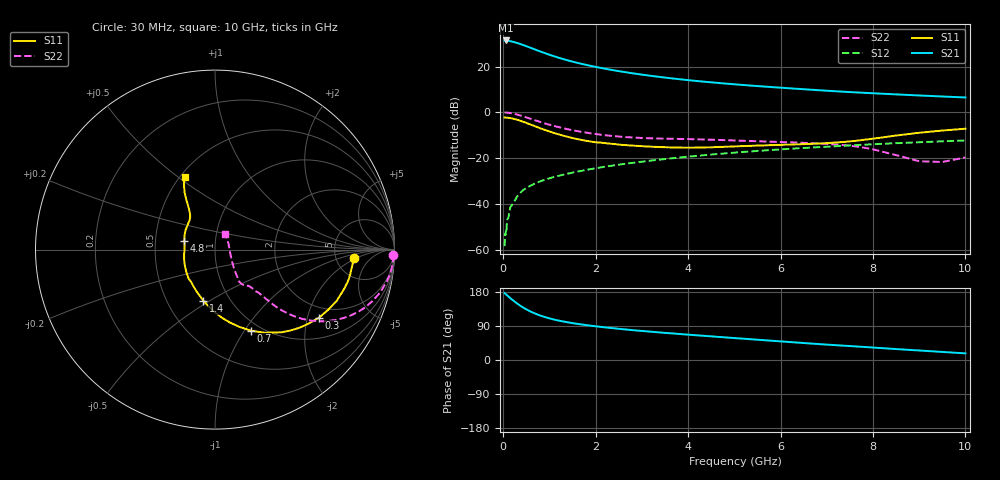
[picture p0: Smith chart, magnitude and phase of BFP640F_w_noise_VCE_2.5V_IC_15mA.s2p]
! Infineon Technologies  Discrete & RF Semiconductors
! BFP640F
! VCE =  2.5 V,  IC =  15 mA
! Common Emitter S-Parameters:  Apr 2013
# GHz  S  MA  R  50
!  f  S11  S21  S12  S22
! GHz  MAG  ANG  MAG  ANG  MAG  ANG  MAG  ANG
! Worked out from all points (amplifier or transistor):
!   99 points, 30 MHz to 10 GHz, reference 50 ohm
!   highest |S21| = 31.4 dB at 50 MHz (marker M1)
!   |S21| within 3 dB of that: start of sweep to 565.6 MHz
!   unconditionally stable (mu >= 1): 2.558 GHz to end of sweep
!   at 350 MHz: K = 0.28, MSG = 32.8 dB, |S12| = -35.6 dB
!   at 3.5 GHz: K = 1.05, MAG = 16.5 dB, |S12| = -20.4 dB
!   at 10 GHz: K = 1.06, MAG = 8.0 dB, |S12| = -12.2 dB
!   lowest NFmin = 0.74 dB at 450 MHz
!   S11 on the Smith chart (normalised r, x): 30 MHz: 7.46, -1.71; 300 MHz: 1.62, -2.37; 700 MHz: 0.90, -1.07; 1.4 GHz: 0.75, -0.47; 4.8 GHz: 0.71, +0.07; 10 GHz: 0.53, +0.53
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0.03  0.7741 -3.4  36.9 176.6  0.0012 109.7  0.992 -1.8
0.05  0.7707 -5.9  37.27 174.5  0.0021 74.4  0.9941 -3.5
0.09  0.7662 -10.4  36.79 169.9  0.0046 83.8  0.9885 -6.5
0.15  0.7508 -17.3  35.98 163.6  0.0084 82.4  0.9705 -11.0
0.25  0.7139 -28.1  34 153.8  0.0118 78.6  0.9255 -17.8
0.3  0.6925 -33.2  32.87 149.2  0.0147 77.9  0.8992 -20.8
0.4  0.641 -42.8  30.48 140.8  0.0188 73.7  0.8388 -26.0
0.45  0.6157 -47.1  29.2 137.1  0.0207 72.1  0.809 -28.2
0.6  0.5396 -59.2  25.61 127.4  0.0255 68.8  0.7207 -33.7
0.7  0.4941 -66.1  23.42 122.1  0.0284 67.2  0.6672 -36.4
0.8  0.4516 -72.5  21.46 117.3  0.0312 66.4  0.6196 -38.5
1  0.3846 -83.7  18.17 109.9  0.0364 64.8  0.5389 -41.3
1.2  0.3316 -93.6  15.64 104.0  0.0413 64.2  0.4767 -42.9
1.4  0.2924 -102.7  13.67 99.4  0.0461 63.7  0.4284 -43.7
1.7  0.2501 -115.4  11.47 93.7  0.0531 63.0  0.3746 -44.1
2.4  0.2041 -141.3  8.287 83.6  0.0698 61.4  0.3031 -46.0
3.4  0.1752 -169.3  5.929 72.6  0.0935 58.2  0.2684 -48.6
4.8  0.1781 163.5  4.274 59.7  0.1273 52.4  0.2478 -51.7
5.1  0.1825 159.2  4.038 57.1  0.1345 51.0  0.242 -52.2
6.7  0.2068 136.7  3.113 43.1  0.1717 42.7  0.212 -52.7
8.5  0.3127 120.3  2.476 28.9  0.2128 33.0  0.117 -35.7
10  0.4407 112.6  2.122 17.5  0.2445 24.5  0.1038 56.3
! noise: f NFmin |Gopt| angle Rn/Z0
0.45  0.74  0.06  6  0.05
0.9  0.75  0.06  19  0.06
1.5  0.76  0.05  35  0.07
1.9  0.77  0.05  51  0.07
2.4  0.79  0.04  76  0.08
3.5  0.88  0.05  131  0.09
5.5  1.07  0.14  -142  0.12
10  1.56  0.4  -93  0.36
